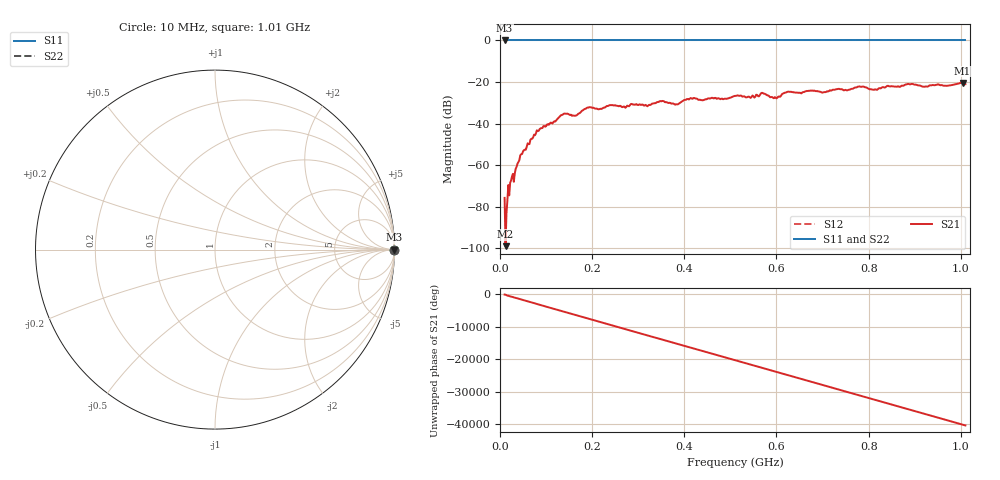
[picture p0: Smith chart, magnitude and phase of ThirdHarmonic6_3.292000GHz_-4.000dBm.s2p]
! 8/17/2025 10:14:21 AM
! C:\ANRITSUVNA\TEMP\TEMP.S2P
! CHANNEL.1
! TR.MEASUREMENT
! RAW.DATA
! RF.CORRECTION.OFF
! AVERAGING.OFF
! IF.BANDWIDTH: 5KHZ
! SWEEPTYPE:  FREQ.SWEEP(Linear)
! Reference Plane Port Info
! PORT:  PORT1  PORT2
! DISTANCE:  0  m  0  m
! TIME:  0  s  0  s
! PHASE.OFFSET:  0  deg.  0  deg.
! LOSS:  0  dB  0  dB
! REF.LOSS:  0  dB  0  dB
! REF.FREQ:  0  Hz  0  Hz
! Power Info
! POWER:  -20  dBm  -20  dBm
! EFF.POWER:  -20  dBm  -20  dBm
! SOURCE.ATTEN:  0  dB  0  dB
! TEST.ATTEN:  0  dB  0  dB
# GHZ S RI R 50.0
! FREQ.GHZ  S11RE  S11IM  S21RE  S21IM  S12RE  S12IM  S22RE  S22IM
!; PortSelection: Port_12
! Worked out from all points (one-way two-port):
!   501 points, 10 MHz to 1.01 GHz, reference 50 ohm
!   highest |S21| = -20.40 dB at 1.004 GHz (marker M1); lowest = -98.9 dB at 12 MHz (marker M2)
!   lowest |S11| = 0.0 dB at 10 MHz (marker M3)
!   |S11| at or under -10 dB: nowhere
!   |S22| runs from 0.0 to 0.0 dB; largest |S21 - S12| = 1.1
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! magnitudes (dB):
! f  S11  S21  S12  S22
! 10 MHz  0.0  -75.7  0.0  0.0
! 12 MHz  0.0  -98.9  0.0  0.0
! 16 MHz  0.0  -77.1  0.0  0.0
! 22 MHz  0.0  -68.4  0.0  0.0
! 42 MHz  0.0  -57.5  0.0  0.0
! 78 MHz  0.0  -44.7  0.0  0.0
! 136 MHz  0.0  -35.7  0.0  0.0
! 164 MHz  0.0  -36.2  0.0  0.0
! 178 MHz  0.0  -33.8  0.0  0.0
! 194 MHz  0.0  -32.0  0.0  0.0
! 322 MHz  0.0  -31.2  0.0  0.0
! 344 MHz  0.0  -29.6  0.0  0.0
! 382 MHz  0.0  -30.7  0.0  0.0
! 416 MHz  0.0  -27.9  0.0  0.0
! 510 MHz  0.0  -26.7  0.0  0.0
! 570 MHz  0.0  -25.2  0.0  0.0
! 598 MHz  0.0  -27.5  0.0  0.0
! 622 MHz  0.0  -24.9  0.0  0.0
! 678 MHz  0.0  -24.1  0.0  0.0
! 844 MHz  0.0  -22.0  0.0  0.0
! 1.004 GHz  0.0  -20.4  0.0  0.0
! 1.01 GHz  0.0  -21.0  0.0  0.0
